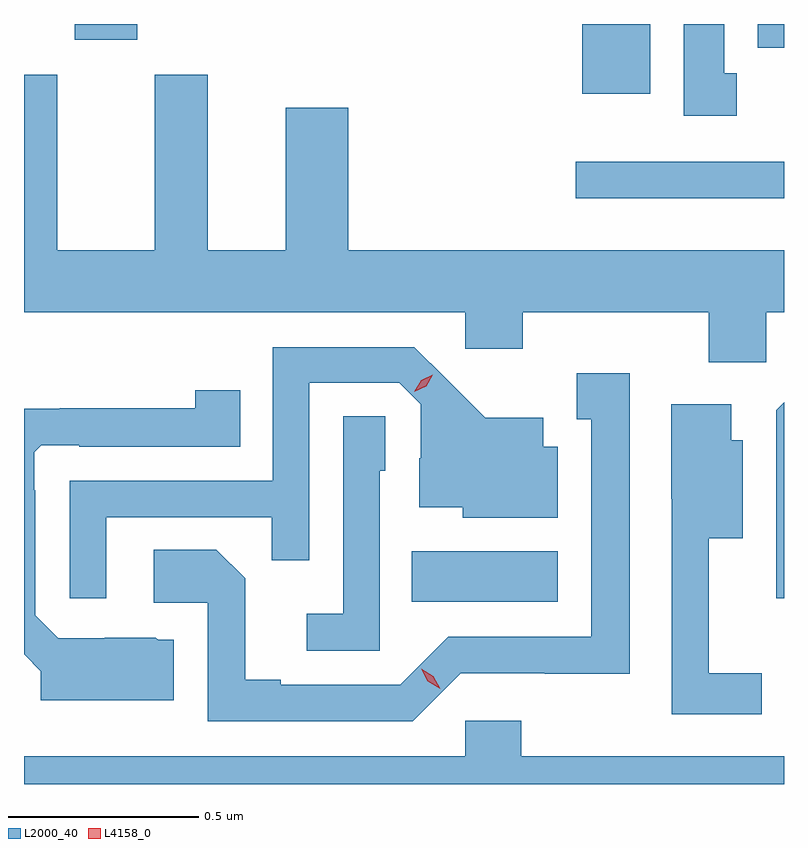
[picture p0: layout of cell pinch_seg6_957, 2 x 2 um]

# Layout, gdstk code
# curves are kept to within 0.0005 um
import gdstk
lib = gdstk.Library(unit=1e-6, precision=1e-09)
def R(c, l, rs):  # rectangles x0, y0, x1, y1
    for r in rs: c.add(gdstk.rectangle(r[:2], r[2:], *l))
def P(c, l, *ps):  # polygons
    for p in ps: c.add(gdstk.Polygon(p, *l))
L2000_40 = (2000, 40)
L4158_0 = (4158, 0)

pinch_seg6_957 = lib.new_cell('pinch_seg6_957')
R(pinch_seg6_957, L2000_40, [(333.172,923.93,333.556,924.064), (333.603,924.992,334.151,925.089), (333.62,925.268,333.799,925.451), (334.082,925.388,334.151,925.451), (332.285,925.41,332.449,925.451)])
P(pinch_seg6_957, L2000_40, [(334.027,925.322),(333.994,925.322),(333.994,925.451),(333.887,925.451),(333.887,925.209),(334.027,925.209)],
  [(334.104,924.692),(334.151,924.692),(334.151,924.856),(333.004,924.856),(333.004,925.231),(332.84,925.231),(332.84,924.856),(332.635,924.856),(332.635,925.318),(332.495,925.318),(332.495,924.856),(332.239,924.856),(332.239,925.318),(332.151,925.318),(332.151,924.692),(333.312,924.692),(333.312,924.597),(333.464,924.597),(333.464,924.692),(333.953,924.692),(333.953,924.561),(334.104,924.561)],
  [(332.367,924.153),(332.803,924.153),(332.803,924.04),(332.901,924.04),(332.901,924.507),(333.138,924.507),(333.195,924.45),(333.195,924.308),(333.191,924.308),(333.191,924.179),(333.306,924.179),(333.306,924.152),(333.556,924.152),(333.556,924.339),(333.517,924.339),(333.517,924.415),(333.365,924.415),(333.178,924.6),(332.805,924.6),(332.805,924.249),(332.271,924.249),(332.271,923.94),(332.367,923.94)],
  [(333.3,923.742),(333.522,923.742),(333.522,923.741),(333.745,923.741),(333.745,924.532),(333.605,924.532),(333.605,924.411),(333.644,924.411),(333.644,923.838),(333.267,923.838),(333.141,923.712),(332.827,923.712),(332.827,923.725),(332.733,923.725),(332.733,923.992),(332.657,924.068),(332.493,924.068),(332.493,923.928),(332.634,923.928),(332.634,923.616),(333.174,923.616)],
  [(332.545,923.83),(332.504,923.83),(332.498,923.836),(332.364,923.836),(332.364,923.835),(332.241,923.835),(332.181,923.895),(332.181,924.224),(332.178,924.224),(332.178,924.324),(332.196,924.342),(332.296,924.342),(332.296,924.339),(332.72,924.339),(332.72,924.487),(332.602,924.487),(332.602,924.44),(332.245,924.44),(332.245,924.439),(332.151,924.439),(332.151,923.792),(332.195,923.748),(332.195,923.672),(332.545,923.672)],
  [(334.151,924.455),(334.131,924.435),(334.131,923.94),(334.151,923.94)],
  [(334.093,923.743),(333.953,923.743),(333.953,924.098),(334.042,924.098),(334.042,924.355),(334.012,924.355),(334.012,924.451),(333.854,924.451),(333.854,924.202),(333.855,924.202),(333.855,923.634),(334.093,923.634)],
  [(333.087,924.276),(333.102,924.276),(333.102,924.419),(332.991,924.419),(332.991,923.899),(332.895,923.899),(332.895,923.802),(333.087,923.802)],
  [(334.151,923.524),(333.459,923.524),(333.459,923.617),(333.312,923.617),(333.312,923.524),(332.151,923.524),(332.151,923.451),(334.151,923.451)])
P(pinch_seg6_957, L4158_0, [(333.178,924.483),(333.178,924.483),(333.196,924.513),(333.226,924.528),(333.227,924.528),(333.227,924.528),(333.209,924.498),(333.178,924.483)],
  [(333.246,923.702),(333.214,923.721),(333.196,923.754),(333.196,923.754),(333.197,923.754),(333.228,923.735),(333.246,923.702),(333.246,923.702)])

lib.write_gds('pinch_seg6_957.gds')
